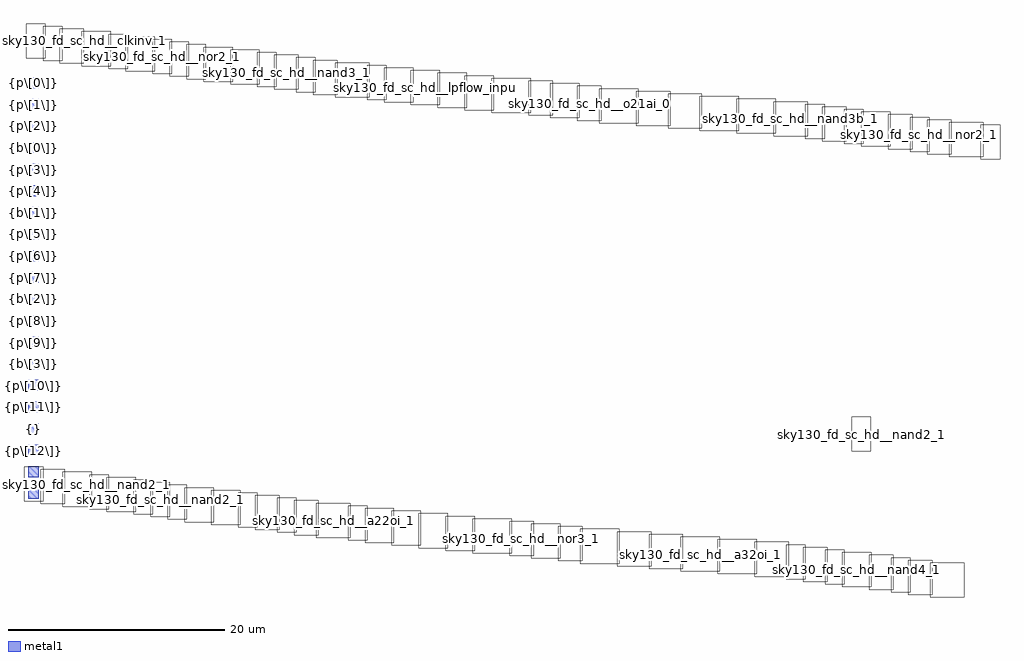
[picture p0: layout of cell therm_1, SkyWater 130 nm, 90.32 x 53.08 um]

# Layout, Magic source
magic
tech sky130A
magscale 1 2
<< metal1 >>
rect 0 0 200 200
rect 0 -400 200 -200
rect 0 -800 200 -600
rect 0 -1200 200 -1000
rect 0 -1600 200 -1400
rect 0 -2000 200 -1800
rect 0 -2400 200 -2200
rect 0 -2800 200 -2600
rect 0 -3200 200 -3000
rect 0 -3600 200 -3400
rect 0 -4000 200 -3800
rect 0 -4400 200 -4200
rect 0 -4800 200 -4600
rect 0 -5200 200 -5000
rect 0 -5600 200 -5400
rect 0 -6000 200 -5800
rect 0 -6400 200 -6200
rect 0 -6800 200 -6600
rect 0 -7200 200 -7000
rect 0 -7600 200 -7400
use sky130_fd_sc_hd__a22oi_1  sky130_fd_sc_hd__a22oi_1_0 $PDKPATH/libs.ref/sky130_fd_sc_hd/mag
transform 1 0 5370 0 1 -8272
box -38 -48 590 592
use sky130_fd_sc_hd__a32oi_1  sky130_fd_sc_hd__a32oi_1_0 $PDKPATH/libs.ref/sky130_fd_sc_hd/mag
transform 1 0 12120 0 1 -8896
box -38 -48 682 592
use sky130_fd_sc_hd__a211oi_1  sky130_fd_sc_hd__a211oi_1_0 $PDKPATH/libs.ref/sky130_fd_sc_hd/mag
transform 1 0 11530 0 1 -8848
box -38 -48 590 592
use sky130_fd_sc_hd__and2_0  sky130_fd_sc_hd__and2_0_0 $PDKPATH/libs.ref/sky130_fd_sc_hd/mag
transform 1 0 3432 0 1 -8032
box -38 -48 498 592
use sky130_fd_sc_hd__lpflow_inputiso1p_1  sky130_fd_sc_hd__lpflow_inputiso1p_1_0 $PDKPATH/libs.ref/sky130_fd_sc_hd/mag
transform 1 0 6772 0 1 -8416
box -38 -48 498 592
use sky130_fd_sc_hd__nand2_1  sky130_fd_sc_hd__nand2_1_0 $PDKPATH/libs.ref/sky130_fd_sc_hd/mag
transform 1 0 -38 0 1 -7600
box -38 -48 314 592
use sky130_fd_sc_hd__nand2_1  sky130_fd_sc_hd__nand2_1_1
transform 1 0 1180 0 1 -7744
box -38 -48 314 592
use sky130_fd_sc_hd__nand2_1  sky130_fd_sc_hd__nand2_1_2
transform 1 0 2306 0 1 -7888
box -38 -48 314 592
use sky130_fd_sc_hd__nand2_1  sky130_fd_sc_hd__nand2_1_3
transform 1 0 2620 0 1 -7936
box -38 -48 314 592
use sky130_fd_sc_hd__nand2_1  sky130_fd_sc_hd__nand2_1_4
transform 1 0 3930 0 1 -8080
box -38 -48 314 592
use sky130_fd_sc_hd__nand2_1  sky130_fd_sc_hd__nand2_1_5
transform 1 0 14074 0 1 -9040
box -38 -48 314 592
use sky130_fd_sc_hd__nand2_1  sky130_fd_sc_hd__nand2_1_6
transform 1 0 14794 0 1 -9136
box -38 -48 314 592
use sky130_fd_sc_hd__nand2_1  sky130_fd_sc_hd__nand2_1_7
transform 1 0 15284 0 1 -6676
box -38 -48 314 592
use sky130_fd_sc_hd__nand2b_1  sky130_fd_sc_hd__nand2b_1_0 $PDKPATH/libs.ref/sky130_fd_sc_hd/mag
transform 1 0 7768 0 1 -8512
box -38 -48 498 592
use sky130_fd_sc_hd__nand3_1  sky130_fd_sc_hd__nand3_1_0 $PDKPATH/libs.ref/sky130_fd_sc_hd/mag
transform 1 0 276 0 1 -7648
box -38 -48 406 592
use sky130_fd_sc_hd__nand3_1  sky130_fd_sc_hd__nand3_1_1
transform 1 0 4244 0 1 -8128
box -38 -48 406 592
use sky130_fd_sc_hd__nand3b_1  sky130_fd_sc_hd__nand3b_1_0 $PDKPATH/libs.ref/sky130_fd_sc_hd/mag
transform 1 0 13484 0 1 -8992
box -38 -48 590 592
use sky130_fd_sc_hd__nand4_1  sky130_fd_sc_hd__nand4_1_0 $PDKPATH/libs.ref/sky130_fd_sc_hd/mag
transform 1 0 682 0 1 -7696
box -38 -48 498 592
use sky130_fd_sc_hd__nand4_1  sky130_fd_sc_hd__nand4_1_1
transform 1 0 1494 0 1 -7792
box -38 -48 498 592
use sky130_fd_sc_hd__nand4_1  sky130_fd_sc_hd__nand4_1_2
transform 1 0 15108 0 1 -9184
box -38 -48 498 592
use sky130_fd_sc_hd__nor2_1  sky130_fd_sc_hd__nor2_1_0 $PDKPATH/libs.ref/sky130_fd_sc_hd/mag
transform 1 0 1992 0 1 -7840
box -38 -48 314 592
use sky130_fd_sc_hd__nor2_1  sky130_fd_sc_hd__nor2_1_1
transform 1 0 4650 0 1 -8176
box -38 -48 314 592
use sky130_fd_sc_hd__nor2_1  sky130_fd_sc_hd__nor2_1_2
transform 1 0 5960 0 1 -8320
box -38 -48 314 592
use sky130_fd_sc_hd__nor2_1  sky130_fd_sc_hd__nor2_1_3
transform 1 0 16012 0 1 -9280
box -38 -48 314 592
use sky130_fd_sc_hd__nor3_1  sky130_fd_sc_hd__nor3_1_0 $PDKPATH/libs.ref/sky130_fd_sc_hd/mag
transform 1 0 4964 0 1 -8224
box -38 -48 406 592
use sky130_fd_sc_hd__nor3_1  sky130_fd_sc_hd__nor3_1_1
transform 1 0 8948 0 1 -8608
box -38 -48 406 592
use sky130_fd_sc_hd__nor3_1  sky130_fd_sc_hd__nor3_1_2
transform 1 0 14388 0 1 -9088
box -38 -48 406 592
use sky130_fd_sc_hd__nor4_1  sky130_fd_sc_hd__nor4_1_0 $PDKPATH/libs.ref/sky130_fd_sc_hd/mag
transform 1 0 2934 0 1 -7984
box -38 -48 498 592
use sky130_fd_sc_hd__nor4_1  sky130_fd_sc_hd__nor4_1_1
transform 1 0 7270 0 1 -8464
box -38 -48 498 592
use sky130_fd_sc_hd__nor4_1  sky130_fd_sc_hd__nor4_1_2
transform 1 0 9354 0 1 -8656
box -38 -48 498 592
use sky130_fd_sc_hd__nor4b_1  sky130_fd_sc_hd__nor4b_1_0 $PDKPATH/libs.ref/sky130_fd_sc_hd/mag
transform 1 0 8266 0 1 -8560
box -38 -48 682 592
use sky130_fd_sc_hd__o21ai_0  sky130_fd_sc_hd__o21ai_0_0 $PDKPATH/libs.ref/sky130_fd_sc_hd/mag
transform 1 0 9852 0 1 -8704
box -38 -48 406 592
use sky130_fd_sc_hd__o21ai_0  sky130_fd_sc_hd__o21ai_0_1
transform 1 0 15606 0 1 -9232
box -38 -48 406 592
use sky130_fd_sc_hd__o21ai_0  sky130_fd_sc_hd__o21ai_0_2
transform 1 0 16326 0 1 -9328
box -38 -48 406 592
use sky130_fd_sc_hd__o31ai_1  sky130_fd_sc_hd__o31ai_1_0 $PDKPATH/libs.ref/sky130_fd_sc_hd/mag
transform 1 0 16732 0 1 -9376
box -38 -48 590 592
use sky130_fd_sc_hd__o2111ai_1  sky130_fd_sc_hd__o2111ai_1_0 $PDKPATH/libs.ref/sky130_fd_sc_hd/mag
transform 1 0 12802 0 1 -8944
box -38 -48 682 592
use sky130_fd_sc_hd__or3_1  sky130_fd_sc_hd__or3_1_0 $PDKPATH/libs.ref/sky130_fd_sc_hd/mag
transform 1 0 6274 0 1 -8368
box -38 -48 498 592
use sky130_fd_sc_hd__or3b_1  sky130_fd_sc_hd__or3b_1_0 $PDKPATH/libs.ref/sky130_fd_sc_hd/mag
transform 1 0 10258 0 1 -8752
box -38 -48 682 592
use sky130_fd_sc_hd__or4_1  sky130_fd_sc_hd__or4_1_0 $PDKPATH/libs.ref/sky130_fd_sc_hd/mag
transform 1 0 10940 0 1 -8800
box -38 -48 590 592
use sky130_fd_sc_hd__clkinv_1  x0 $PDKPATH/libs.ref/sky130_fd_sc_hd/mag
transform 1 0 0 0 1 600
box -38 -48 314 592
use sky130_fd_sc_hd__nand2_1  x1
transform 1 0 314 0 1 552
box -38 -48 314 592
use sky130_fd_sc_hd__nand3_1  x2
transform 1 0 628 0 1 504
box -38 -48 406 592
use sky130_fd_sc_hd__nand4_1  x3
transform 1 0 1034 0 1 456
box -38 -48 498 592
use sky130_fd_sc_hd__nand2_1  x4
transform 1 0 1532 0 1 408
box -38 -48 314 592
use sky130_fd_sc_hd__nand4_1  x5
transform 1 0 1846 0 1 360
box -38 -48 498 592
use sky130_fd_sc_hd__nor2_1  x6
transform 1 0 2344 0 1 312
box -38 -48 314 592
use sky130_fd_sc_hd__nand2_1  x7
transform 1 0 2658 0 1 264
box -38 -48 314 592
use sky130_fd_sc_hd__nand2_1  x8
transform 1 0 2972 0 1 216
box -38 -48 314 592
use sky130_fd_sc_hd__nor4_1  x9
transform 1 0 3286 0 1 168
box -38 -48 498 592
use sky130_fd_sc_hd__and2_0  x10
transform 1 0 3784 0 1 120
box -38 -48 498 592
use sky130_fd_sc_hd__nand2_1  x11
transform 1 0 4282 0 1 72
box -38 -48 314 592
use sky130_fd_sc_hd__nand3_1  x12
transform 1 0 4596 0 1 24
box -38 -48 406 592
use sky130_fd_sc_hd__nor2_1  x13
transform 1 0 5002 0 1 -24
box -38 -48 314 592
use sky130_fd_sc_hd__nor3_1  x14
transform 1 0 5316 0 1 -72
box -38 -48 406 592
use sky130_fd_sc_hd__a22oi_1  x15
transform 1 0 5722 0 1 -120
box -38 -48 590 592
use sky130_fd_sc_hd__nor2_1  x16
transform 1 0 6312 0 1 -168
box -38 -48 314 592
use sky130_fd_sc_hd__or3_1  x17
transform 1 0 6626 0 1 -216
box -38 -48 498 592
use sky130_fd_sc_hd__lpflow_inputiso1p_1  x18
transform 1 0 7124 0 1 -264
box -38 -48 498 592
use sky130_fd_sc_hd__nor4_1  x19
transform 1 0 7622 0 1 -312
box -38 -48 498 592
use sky130_fd_sc_hd__nand2b_1  x20
transform 1 0 8120 0 1 -360
box -38 -48 498 592
use sky130_fd_sc_hd__nor4b_1  x21
transform 1 0 8618 0 1 -408
box -38 -48 682 592
use sky130_fd_sc_hd__nor3_1  x22
transform 1 0 9300 0 1 -456
box -38 -48 406 592
use sky130_fd_sc_hd__nor4_1  x23
transform 1 0 9706 0 1 -504
box -38 -48 498 592
use sky130_fd_sc_hd__o21ai_0  x24
transform 1 0 10204 0 1 -552
box -38 -48 406 592
use sky130_fd_sc_hd__or3b_1  x25
transform 1 0 10610 0 1 -600
box -38 -48 682 592
use sky130_fd_sc_hd__or4_1  x26
transform 1 0 11292 0 1 -648
box -38 -48 590 592
use sky130_fd_sc_hd__a211oi_1  x27
transform 1 0 11882 0 1 -696
box -38 -48 590 592
use sky130_fd_sc_hd__a32oi_1  x28
transform 1 0 12472 0 1 -744
box -38 -48 682 592
use sky130_fd_sc_hd__o2111ai_1  x29
transform 1 0 13154 0 1 -792
box -38 -48 682 592
use sky130_fd_sc_hd__nand3b_1  x30
transform 1 0 13836 0 1 -840
box -38 -48 590 592
use sky130_fd_sc_hd__nand2_1  x31
transform 1 0 14426 0 1 -888
box -38 -48 314 592
use sky130_fd_sc_hd__nor3_1  x32
transform 1 0 14740 0 1 -936
box -38 -48 406 592
use sky130_fd_sc_hd__nand2_1  x33
transform 1 0 15146 0 1 -984
box -38 -48 314 592
use sky130_fd_sc_hd__nand4_1  x34
transform 1 0 15460 0 1 -1032
box -38 -48 498 592
use sky130_fd_sc_hd__o21ai_0  x35
transform 1 0 15958 0 1 -1080
box -38 -48 406 592
use sky130_fd_sc_hd__nor2_1  x36
transform 1 0 16364 0 1 -1128
box -38 -48 314 592
use sky130_fd_sc_hd__o21ai_0  x37
transform 1 0 16678 0 1 -1176
box -38 -48 406 592
use sky130_fd_sc_hd__o31ai_1  x38
transform 1 0 17084 0 1 -1224
box -38 -48 590 592
use sky130_fd_sc_hd__nand2_1  x39
transform 1 0 17674 0 1 -1272
box -38 -48 314 592
<< labels >>
flabel metal1 0 0 200 200 0 FreeSans 256 0 0 0 {p\[0\]}
port 0 nsew
flabel metal1 0 -400 200 -200 0 FreeSans 256 0 0 0 {p\[1\]}
port 1 nsew
flabel metal1 0 -800 200 -600 0 FreeSans 256 0 0 0 {p\[2\]}
port 2 nsew
flabel metal1 0 -1200 200 -1000 0 FreeSans 256 0 0 0 {b\[0\]}
port 3 nsew
flabel metal1 0 -1600 200 -1400 0 FreeSans 256 0 0 0 {p\[3\]}
port 4 nsew
flabel metal1 0 -2000 200 -1800 0 FreeSans 256 0 0 0 {p\[4\]}
port 5 nsew
flabel metal1 0 -2400 200 -2200 0 FreeSans 256 0 0 0 {b\[1\]}
port 6 nsew
flabel metal1 0 -2800 200 -2600 0 FreeSans 256 0 0 0 {p\[5\]}
port 7 nsew
flabel metal1 0 -3200 200 -3000 0 FreeSans 256 0 0 0 {p\[6\]}
port 8 nsew
flabel metal1 0 -3600 200 -3400 0 FreeSans 256 0 0 0 {p\[7\]}
port 9 nsew
flabel metal1 0 -4000 200 -3800 0 FreeSans 256 0 0 0 {b\[2\]}
port 10 nsew
flabel metal1 0 -4400 200 -4200 0 FreeSans 256 0 0 0 {p\[8\]}
port 11 nsew
flabel metal1 0 -4800 200 -4600 0 FreeSans 256 0 0 0 {p\[9\]}
port 12 nsew
flabel metal1 0 -5200 200 -5000 0 FreeSans 256 0 0 0 {b\[3\]}
port 13 nsew
flabel metal1 0 -5600 200 -5400 0 FreeSans 256 0 0 0 {p\[10\]}
port 14 nsew
flabel metal1 0 -6000 200 -5800 0 FreeSans 256 0 0 0 {p\[11\]}
port 15 nsew
flabel metal1 0 -6400 200 -6200 0 FreeSans 256 0 0 0 {}
port 16 nsew
flabel metal1 0 -6800 200 -6600 0 FreeSans 256 0 0 0 {p\[12\]}
port 17 nsew
flabel metal1 0 -7200 200 -7000 0 FreeSans 256 0 0 0 {p\[13\]}
port 18 nsew
flabel metal1 0 -7600 200 -7400 0 FreeSans 256 0 0 0 {p\[14\]}
port 19 nsew
<< end >>
